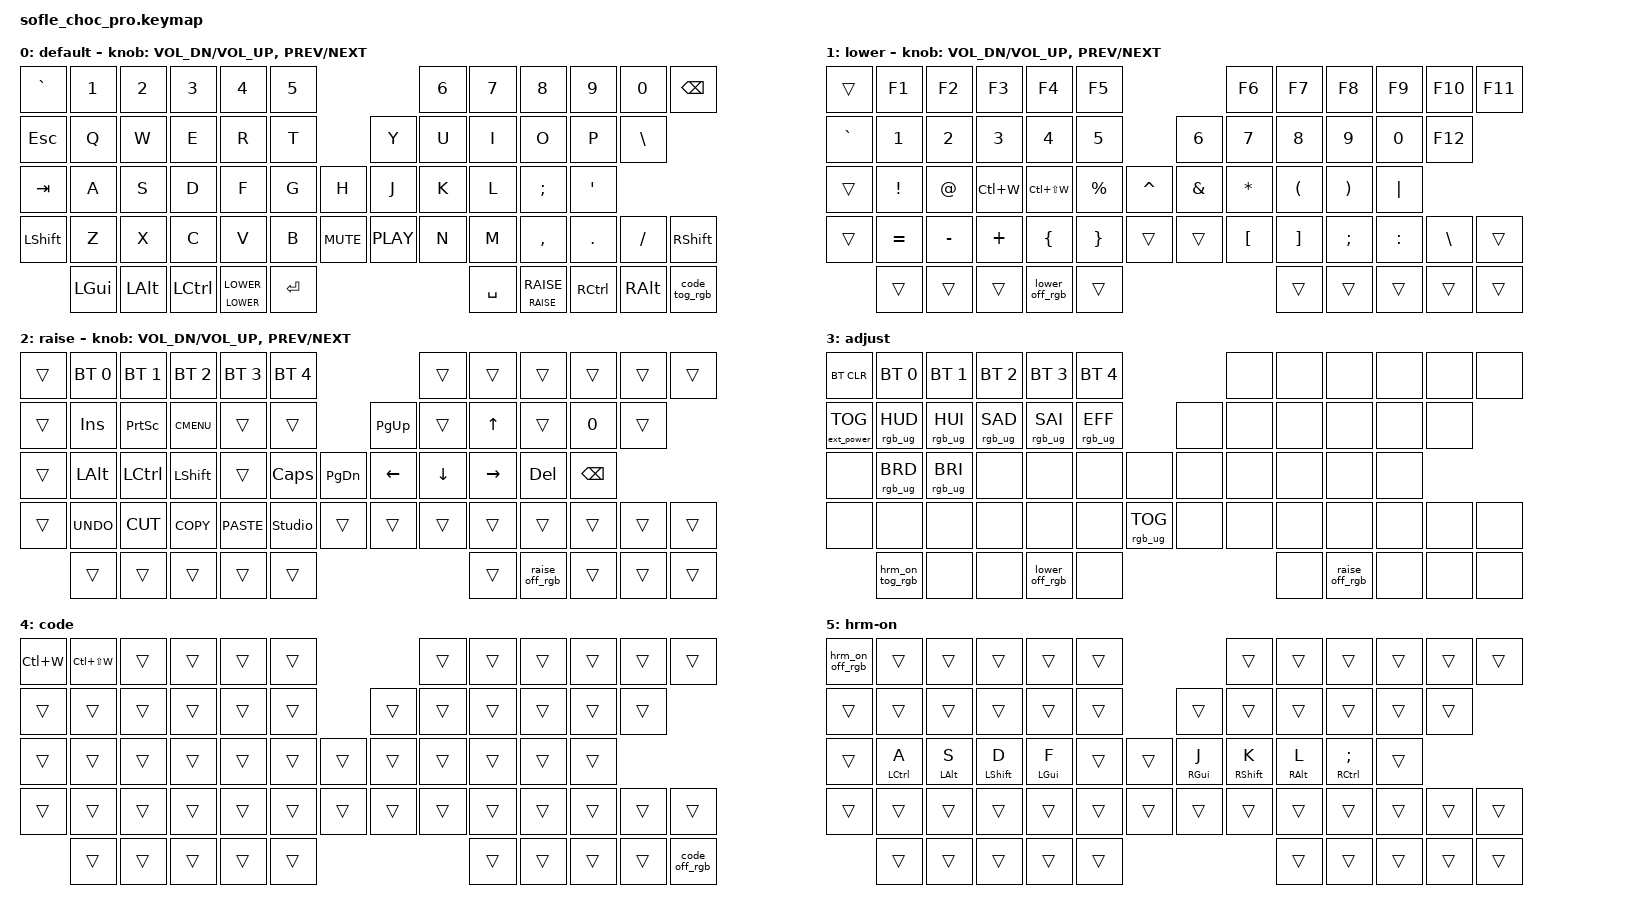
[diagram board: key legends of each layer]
/*
* Copyright (c) 2020 The ZMK Contributors
*
* SPDX-License-Identifier: MIT
*/

#include <behaviors.dtsi>
#include <dt-bindings/zmk/keys.h>
#include <dt-bindings/zmk/bt.h>
#include <dt-bindings/zmk/rgb.h>
#include <dt-bindings/zmk/ext_power.h>

#define BASE 0
#define LOWER 1
#define RAISE 2
#define ADJUST 3
#define CODE 4
#define HRM_ON 5

/ {

  // Activate ADJUST layer by pressing raise and lower (works for both &mo and &tog)
  conditional_layers {
    compatible = "zmk,conditional-layers";
    adjust_layer {
      if-layers = <LOWER RAISE>;
      then-layer = <ADJUST>;
    };
  };

  behaviors {
    /* --- RGB helpers ------------------------------------------------------ */

    lhr_lower: lhr_lower {
      compatible = "zmk,behavior-layer-hold-rgb";
      layer = <LOWER>;
      hold-hue = <210>;
      hold-sat = <90>;
      hold-bri = <35>;
      base-hue = <35>;
      base-sat = <20>;
      base-bri = <0>;
    };

    lower_tog_rgb: lower_tog_rgb {
      compatible = "zmk,behavior-macro";
      #binding-cells = <0>;
      bindings = <
        &rgb_ug RGB_ON
        &rgb_ug RGB_COLOR_HSB(210, 90, 35) /* blue */
        &tog LOWER
      >;
    };

    lower_off_rgb: lower_off_rgb {
      compatible = "zmk,behavior-macro";
      #binding-cells = <0>;
      bindings = <
        &tog LOWER
        &rgb_ug RGB_OFF
      >;
    };

    lhr_raise: lhr_raise {
      compatible = "zmk,behavior-layer-hold-rgb";
      layer = <RAISE>;
      hold-hue = <285>;
      hold-sat = <90>;
      hold-bri = <35>;
      base-hue = <35>;
      base-sat = <20>;
      base-bri = <0>;
    };

    raise_tog_rgb: raise_tog_rgb {
      compatible = "zmk,behavior-macro";
      #binding-cells = <0>;
      bindings = <
        &rgb_ug RGB_ON
        &rgb_ug RGB_COLOR_HSB(285, 90, 35) /* purple */
        &tog RAISE
      >;
    };

    raise_off_rgb: raise_off_rgb {
      compatible = "zmk,behavior-macro";
      #binding-cells = <0>;
      bindings = <
        &tog RAISE
        &rgb_ug RGB_OFF
      >;
    };

    code_tog_rgb: code_tog_rgb {
      compatible = "zmk,behavior-macro";
      #binding-cells = <0>;
      bindings = <
        &rgb_ug RGB_ON
        &rgb_ug RGB_COLOR_HSB(35, 90, 35) /* orange */
        &tog CODE
      >;
    };

    code_off_rgb: code_off_rgb {
      compatible = "zmk,behavior-macro";
      #binding-cells = <0>;
      bindings = <
        &tog CODE
        &rgb_ug RGB_OFF
      >;
    };

    hrm_on_tog_rgb: hrm_on_tog_rgb {
      compatible = "zmk,behavior-macro";
      #binding-cells = <0>;
      bindings = <
        &rgb_ug RGB_ON
        &rgb_ug RGB_COLOR_HSB(140, 90, 35) /* green */
        &tog HRM_ON
      >;
    };

    hrm_on_off_rgb: hrm_on_off_rgb {
      compatible = "zmk,behavior-macro";
      #binding-cells = <0>;
      bindings = <
        &tog HRM_ON
        &rgb_ug RGB_OFF
      >;
    };

    /* --- Layer keys: hold = momentary, tap = toggle + set RGB ---------------- */

    lt_lower: lt_lower {
      compatible = "zmk,behavior-hold-tap";
      #binding-cells = <2>;
      tapping-term-ms = <220>;
      flavor = "hold-preferred";
      bindings = <&mo &lower_tog_rgb>;  /* hold, tap */
    };

    lt_raise: lt_raise {
      compatible = "zmk,behavior-hold-tap";
      #binding-cells = <2>;
      tapping-term-ms = <220>;
      flavor = "hold-preferred";
      bindings = <&mo &raise_tog_rgb>;  /* hold, tap */
    };

    /* --- Home Row Mods helper: tap = key, hold = modifier ------------------ */

    hrm: hrm {
      compatible = "zmk,behavior-hold-tap";
      #binding-cells = <2>;
      tapping-term-ms = <220>;
      flavor = "balanced";
      bindings = <&kp &kp>;
    };
  };

  keymap {
    compatible = "zmk,keymap";

    default_layer {
      display-name = "default";
      // ------------------------------------------------------------------------------------------------------------
      // |   `   |  1  |  2  |  3   |  4   |  5   |                   |  6   |  7    |  8    |  9   |   0   | BKSPC |
      // |  ESC  |  Q  |  W  |  E   |  R   |  T   |                   |  Y   |  U    |  I    |  O   |   P   |   \   |
      // |  TAB  |  A  |  S  |  D   |  F   |  G   |                   |  H   |  J    |  K    |  L   |   ;   |   '   |
      // |       | Ctl | Alt | Sft  | Gui  |      |                   |      |  Gui  |  Sft  | Alt  | Ctl   |       |
      // | SHIFT |  Z  |  X  |  C   |  V   |  B   |  MUTE  |  | PLAY  |  N   |  M    |  ,    |  .   |   /   | SHIFT |
      //               | GUI | ALT  | CTRL | LOWER|  ENTER |  | SPACE | RAISE| CTRL  | ALT   | GUI  |
      //
      // Notes:
      // - A/S/D/F and J/K/L/; are plain letters by default.
      // - HRM can be toggled on from the ADJUST layer.
      // - CODE is a utility layer for code-focused shortcuts.
      // - ESC is a normal key.
      // - LOWER/RAISE are hold-tap: hold = momentary layer, tap = toggle layer + set RGB color.

      bindings = <
        &kp GRAVE  &kp N1  &kp N2    &kp N3    &kp N4     &kp N5                             &kp N6     &kp N7     &kp N8     &kp N9    &kp N0    &kp BSPC
        &kp ESC    &kp Q   &kp W     &kp E     &kp R      &kp T      &kp Y                    &kp U      &kp I      &kp O     &kp P     &kp BACKSLASH
        &kp TAB    &kp A  &kp S  &kp D  &kp F  &kp G  &kp H         &kp J  &kp K  &kp L  &kp SEMI  &kp SQT
        &kp LSHFT  &kp Z   &kp X     &kp C     &kp V      &kp B      &kp C_MUTE  &kp C_PLAY  &kp N      &kp M      &kp COMMA  &kp DOT   &kp FSLH  &kp RSHFT
                   &kp LGUI  &kp LALT  &kp LCTRL  &lt_lower LOWER LOWER  &kp RET     &kp SPACE   &lt_raise RAISE RAISE  &kp RCTRL  &kp RALT   &code_tog_rgb
      >;

      sensor-bindings = <&inc_dec_kp C_VOL_DN C_VOL_UP &inc_dec_kp C_PREV C_NEXT>;
    };

    lower_layer {
      display-name = "lower";
      // ------------------------------------------------------------------------------------------------------------
      // |       |  F1 |  F2 |  F3  |  F4  |  F5  |                   |  F6  |  F7   |  F8   |  F9  |  F10  |  F11  |
      // |   `   |  1  |  2  |  3   |  4   |  5   |                   |  6   |  7    |  8    |  9   |   0   |  F12  |
      // |       |  !  |  @  | EXT  | SHR  |  %   |                   |  ^   |  &    |  *    |  (   |   )   |   |   |
      // |       |  =  |  -  |  +   |  {   |  }   |        |  |       |  [   |  ]    |  ;    |  :   |   \   |       |
      //               |     |      |LOWOFF|      |        |  |       |      |       |       |      |
      bindings = <
        &trans    &kp F1    &kp F2    &kp F3      &kp F4    &kp F5                    &kp F6    &kp F7   &kp F8    &kp F9    &kp F10   &kp F11
        &kp GRAVE &kp N1    &kp N2    &kp N3      &kp N4    &kp N5                    &kp N6    &kp N7   &kp N8    &kp N9    &kp N0    &kp F12
        &trans    &kp EXCL  &kp AT    &kp LC(W)   &kp LC(LS(W))  &kp PRCNT            &kp CARET &kp AMPS &kp ASTRK &kp LPAR  &kp RPAR  &kp PIPE
        &trans    &kp EQUAL &kp MINUS &kp PLUS    &kp LBRC  &kp RBRC   &trans &trans  &kp LBKT  &kp RBKT &kp SEMI  &kp COLON &kp BSLH  &trans
        &trans    &trans    &trans    &lower_off_rgb  &trans    &trans                     &trans    &trans   &trans    &trans
      >;

      sensor-bindings = <&inc_dec_kp C_VOL_DN C_VOL_UP &inc_dec_kp C_PREV C_NEXT>;
    };

    raise_layer {
      display-name = "raise";
      // ------------------------------------------------------------------------------------------------------------
      // |       | BT1  | BT2  |  BT3  |  BT4  |  BT5 |                |      |      |       |      |       |       |
      // |       | INS  | PSCR | MENU  |       |      |                | PGUP |      |   ^   |      |   0   |       |
      // |       | ALT  | CTRL | SHIFT |       | CAPS |                | PGDN |   <- |   v   |  ->  |  DEL  | BKSPC |
      // |       | UNDO | CUT  | COPY  | PASTE |      |      |  |      |      |      |       |      |       |       |
      //                |      |       |       |      |      |  |RAIOFF|      |      |       |      |
      bindings = <
        &trans     &bt BT_SEL 0 &bt BT_SEL 1 &bt BT_SEL 2 &bt BT_SEL 3 &bt BT_SEL 4                  &trans    &trans    &trans   &trans    &trans  &trans
        &trans     &kp INS      &kp PSCRN    &kp K_CMENU  &trans       &trans                        &kp PG_UP &trans    &kp UP   &trans    &kp N0  &trans
        &trans     &kp LALT     &kp LCTRL    &kp LSHFT    &trans       &kp CLCK                      &kp PG_DN &kp LEFT  &kp DOWN &kp RIGHT &kp DEL &kp BSPC
        &trans     &kp K_UNDO   &kp K_CUT    &kp K_COPY   &kp K_PASTE  &studio_unlock        &trans  &trans  &trans    &trans    &trans   &trans    &trans  &trans
        &trans     &trans       &trans       &trans       &trans       &trans                        &raise_off_rgb    &trans    &trans    &trans
      >;

      sensor-bindings = <&inc_dec_kp C_VOL_DN C_VOL_UP &inc_dec_kp C_PREV C_NEXT>;
    };

    adjust_layer {
      // ----------------------------------------------------------------------------------------------------------------------------
      // | BTCLR  |  BT1    |  BT2    |   BT3   |   BT4   |   BT5   |                  |      |      |       |      |       |       |
      // | EXTPWR | RGB_HUD | RGB_HUI | RGB_SAD | RGB_SAI | RGB_EFF |                  |      |      |       |      |       |       |
      // |        | RGB_BRD | RGB_BRI |         |         |         |                  |      |      |       |      |       |       |
      // |        |         |         |         |         |         | RGB_TOG | |      |      |      |       |      |       |       |
      // HRM toggle lives in the first left thumb slot.
      display-name = "adjust";
      bindings = <
        &bt BT_CLR        &bt BT_SEL 0    &bt BT_SEL 1    &bt BT_SEL 2    &bt BT_SEL 3    &bt BT_SEL 4                            &none &none &none &none &none &none
        &ext_power EP_TOG &rgb_ug RGB_HUD &rgb_ug RGB_HUI &rgb_ug RGB_SAD &rgb_ug RGB_SAI &rgb_ug RGB_EFF                         &none &none &none &none &none &none
        &none             &rgb_ug RGB_BRD &rgb_ug RGB_BRI &none           &none           &none                                   &none &none &none &none &none &none
        &none             &none           &none           &none           &none           &none            &rgb_ug RGB_TOG &none  &none &none &none &none &none &none
        &hrm_on_tog_rgb   &none           &none           &lower_off_rgb  &none           &none                                   &raise_off_rgb &none &none &none
      >;
    };

    code_layer {
      display-name = "code";
      // ------------------------------------------------------------------------------------------------------------
      // |        |        |        |        |        |        |                   |        |        |        |        |        |
      // | CTRL+W | CTRL+SH+W |      |      |      |      |                   |        |        |        |        |        |
      // |        |        |        |        |        |        |                   |        |        |        |        |        |
      // |        |        |        |        |        |        |                   |        |        |        |        |        |
      //               |        |        |        |        |        |  |        |        |        |        |
      bindings = <
        &kp LC(W)   &kp LC(LS(W))  &trans   &trans   &trans   &trans                        &trans   &trans   &trans   &trans   &trans   &trans
        &trans      &trans         &trans   &trans   &trans   &trans                        &trans   &trans   &trans   &trans   &trans   &trans
        &trans      &trans         &trans   &trans   &trans   &trans                        &trans   &trans   &trans   &trans   &trans   &trans
        &trans      &trans         &trans   &trans   &trans   &trans   &trans   &trans      &trans   &trans   &trans   &trans   &trans   &trans
        &trans        &trans        &trans   &trans   &trans   &trans                        &trans   &trans   &trans   &code_off_rgb
      >;
    };

    hrm_on_layer {
      display-name = "hrm-on";
      bindings = <
        &hrm_on_off_rgb &trans   &trans   &trans   &trans   &trans                         &trans   &trans   &trans   &trans   &trans   &trans
        &trans   &trans   &trans   &trans   &trans   &trans                         &trans   &trans   &trans   &trans   &trans   &trans
        &trans   &hrm LCTRL A    &hrm LALT S    &hrm LSHFT D    &hrm LGUI F    &trans   &trans               &hrm RGUI J    &hrm RSHFT K    &hrm RALT L    &hrm RCTRL SEMI    &trans
        &trans   &trans   &trans   &trans   &trans   &trans   &trans   &trans     &trans   &trans   &trans   &trans   &trans   &trans
        &trans   &trans   &trans   &trans   &trans   &trans                         &trans   &trans   &trans   &trans
      >;
    };
  };
};
